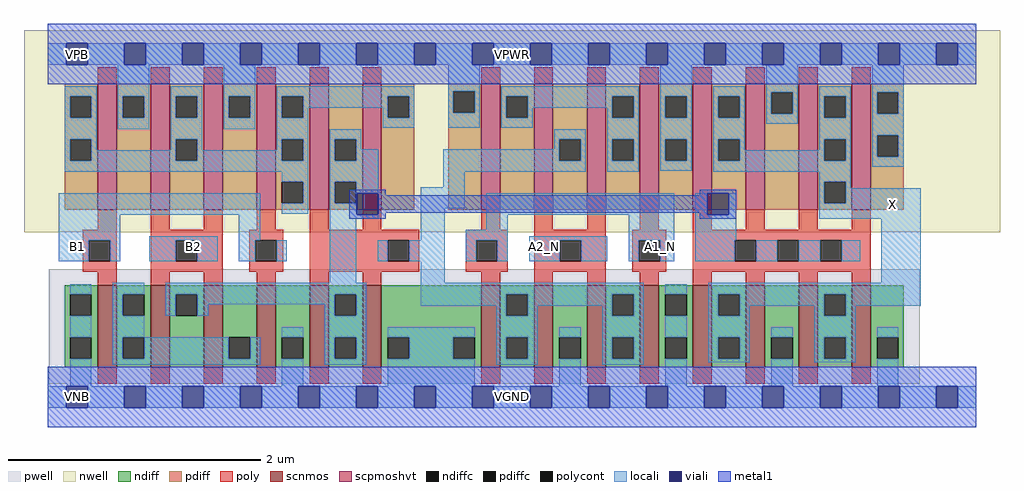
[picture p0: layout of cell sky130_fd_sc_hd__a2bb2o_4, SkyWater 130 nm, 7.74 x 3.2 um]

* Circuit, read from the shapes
.subckt sky130_fd_sc_hd__a2bb2o_4 A1_N A2_N B1 B2 VGND VNB VPB VPWR X
XM1 n1 B1 VGND VNB sky130_fd_pr__nfet_01v8 w=0.65 l=0.15 m=2
XM2 n2 B2 n1 VNB sky130_fd_pr__nfet_01v8 w=0.65 l=0.15 m=2
XM3 n2 n3 VGND VNB sky130_fd_pr__nfet_01v8 w=0.65 l=0.15 m=2
XM4 n3 A1_N VGND VNB sky130_fd_pr__nfet_01v8 w=0.65 l=0.15 m=2
XM5 VGND A2_N n3 VNB sky130_fd_pr__nfet_01v8 w=0.65 l=0.15 m=2
XM6 X n2 VGND VNB sky130_fd_pr__nfet_01v8 w=0.65 l=0.15 m=4
XM7 VPWR B1 n4 VPB sky130_fd_pr__pfet_01v8_hvt w=1 l=0.15 m=2
XM8 n4 B2 VPWR VPB sky130_fd_pr__pfet_01v8_hvt w=1 l=0.15 m=2
XM9 n2 n3 n4 VPB sky130_fd_pr__pfet_01v8_hvt w=1 l=0.15 m=2
XM10 n5 A1_N VPWR VPB sky130_fd_pr__pfet_01v8_hvt w=1 l=0.15 m=2
XM11 n3 A2_N n5 VPB sky130_fd_pr__pfet_01v8_hvt w=1 l=0.15 m=2
XM12 X n2 VPWR VPB sky130_fd_pr__pfet_01v8_hvt w=1 l=0.15 m=4
.ends

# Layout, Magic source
magic
tech sky130B
magscale 1 2
<< nwell >>
rect -38 261 1510 582
<< pwell >>
rect 1 21 1383 203
rect 30 -17 64 21
<< scnmos >>
rect 79 47 109 177
rect 163 47 193 177
rect 247 47 277 177
rect 331 47 361 177
rect 415 47 445 177
rect 499 47 529 177
rect 687 47 717 177
rect 771 47 801 177
rect 855 47 885 177
rect 939 47 969 177
rect 1023 47 1053 177
rect 1107 47 1137 177
rect 1191 47 1221 177
rect 1275 47 1305 177
<< scpmoshvt >>
rect 79 297 109 497
rect 163 297 193 497
rect 247 297 277 497
rect 331 297 361 497
rect 415 297 445 497
rect 499 297 529 497
rect 687 297 717 497
rect 771 297 801 497
rect 855 297 885 497
rect 939 297 969 497
rect 1023 297 1053 497
rect 1107 297 1137 497
rect 1191 297 1221 497
rect 1275 297 1305 497
<< ndiff >>
rect 27 163 79 177
rect 27 129 35 163
rect 69 129 79 163
rect 27 95 79 129
rect 27 61 35 95
rect 69 61 79 95
rect 27 47 79 61
rect 109 163 163 177
rect 109 129 119 163
rect 153 129 163 163
rect 109 95 163 129
rect 109 61 119 95
rect 153 61 163 95
rect 109 47 163 61
rect 193 163 247 177
rect 193 129 203 163
rect 237 129 247 163
rect 193 47 247 129
rect 277 95 331 177
rect 277 61 287 95
rect 321 61 331 95
rect 277 47 331 61
rect 361 95 415 177
rect 361 61 371 95
rect 405 61 415 95
rect 361 47 415 61
rect 445 163 499 177
rect 445 129 455 163
rect 489 129 499 163
rect 445 95 499 129
rect 445 61 455 95
rect 489 61 499 95
rect 445 47 499 61
rect 529 95 687 177
rect 529 61 539 95
rect 573 61 643 95
rect 677 61 687 95
rect 529 47 687 61
rect 717 163 771 177
rect 717 129 727 163
rect 761 129 771 163
rect 717 95 771 129
rect 717 61 727 95
rect 761 61 771 95
rect 717 47 771 61
rect 801 95 855 177
rect 801 61 811 95
rect 845 61 855 95
rect 801 47 855 61
rect 885 163 939 177
rect 885 129 895 163
rect 929 129 939 163
rect 885 95 939 129
rect 885 61 895 95
rect 929 61 939 95
rect 885 47 939 61
rect 969 163 1023 177
rect 969 129 979 163
rect 1013 129 1023 163
rect 969 95 1023 129
rect 969 61 979 95
rect 1013 61 1023 95
rect 969 47 1023 61
rect 1053 163 1107 177
rect 1053 129 1063 163
rect 1097 129 1107 163
rect 1053 95 1107 129
rect 1053 61 1063 95
rect 1097 61 1107 95
rect 1053 47 1107 61
rect 1137 95 1191 177
rect 1137 61 1147 95
rect 1181 61 1191 95
rect 1137 47 1191 61
rect 1221 163 1275 177
rect 1221 129 1231 163
rect 1265 129 1275 163
rect 1221 95 1275 129
rect 1221 61 1231 95
rect 1265 61 1275 95
rect 1221 47 1275 61
rect 1305 95 1357 177
rect 1305 61 1315 95
rect 1349 61 1357 95
rect 1305 47 1357 61
<< pdiff >>
rect 27 477 79 497
rect 27 443 35 477
rect 69 443 79 477
rect 27 409 79 443
rect 27 375 35 409
rect 69 375 79 409
rect 27 297 79 375
rect 109 477 163 497
rect 109 443 119 477
rect 153 443 163 477
rect 109 297 163 443
rect 193 477 247 497
rect 193 443 203 477
rect 237 443 247 477
rect 193 409 247 443
rect 193 375 203 409
rect 237 375 247 409
rect 193 297 247 375
rect 277 477 331 497
rect 277 443 287 477
rect 321 443 331 477
rect 277 297 331 443
rect 361 477 415 497
rect 361 443 371 477
rect 405 443 415 477
rect 361 409 415 443
rect 361 375 371 409
rect 405 375 415 409
rect 361 341 415 375
rect 361 307 371 341
rect 405 307 415 341
rect 361 297 415 307
rect 445 409 499 497
rect 445 375 455 409
rect 489 375 499 409
rect 445 341 499 375
rect 445 307 455 341
rect 489 307 499 341
rect 445 297 499 307
rect 529 477 581 497
rect 529 443 539 477
rect 573 443 581 477
rect 529 297 581 443
rect 635 485 687 497
rect 635 451 643 485
rect 677 451 687 485
rect 635 297 687 451
rect 717 477 771 497
rect 717 443 727 477
rect 761 443 771 477
rect 717 297 771 443
rect 801 409 855 497
rect 801 375 811 409
rect 845 375 855 409
rect 801 297 855 375
rect 885 477 939 497
rect 885 443 895 477
rect 929 443 939 477
rect 885 409 939 443
rect 885 375 895 409
rect 929 375 939 409
rect 885 297 939 375
rect 969 477 1023 497
rect 969 443 979 477
rect 1013 443 1023 477
rect 969 409 1023 443
rect 969 375 979 409
rect 1013 375 1023 409
rect 969 297 1023 375
rect 1053 477 1107 497
rect 1053 443 1063 477
rect 1097 443 1107 477
rect 1053 409 1107 443
rect 1053 375 1063 409
rect 1097 375 1107 409
rect 1053 297 1107 375
rect 1137 483 1191 497
rect 1137 449 1147 483
rect 1181 449 1191 483
rect 1137 297 1191 449
rect 1221 477 1275 497
rect 1221 443 1231 477
rect 1265 443 1275 477
rect 1221 409 1275 443
rect 1221 375 1231 409
rect 1265 375 1275 409
rect 1221 341 1275 375
rect 1221 307 1231 341
rect 1265 307 1275 341
rect 1221 297 1275 307
rect 1305 483 1357 497
rect 1305 449 1315 483
rect 1349 449 1357 483
rect 1305 415 1357 449
rect 1305 381 1315 415
rect 1349 381 1357 415
rect 1305 297 1357 381
<< ndiffc >>
rect 35 129 69 163
rect 35 61 69 95
rect 119 129 153 163
rect 119 61 153 95
rect 203 129 237 163
rect 287 61 321 95
rect 371 61 405 95
rect 455 129 489 163
rect 455 61 489 95
rect 539 61 573 95
rect 643 61 677 95
rect 727 129 761 163
rect 727 61 761 95
rect 811 61 845 95
rect 895 129 929 163
rect 895 61 929 95
rect 979 129 1013 163
rect 979 61 1013 95
rect 1063 129 1097 163
rect 1063 61 1097 95
rect 1147 61 1181 95
rect 1231 129 1265 163
rect 1231 61 1265 95
rect 1315 61 1349 95
<< pdiffc >>
rect 35 443 69 477
rect 35 375 69 409
rect 119 443 153 477
rect 203 443 237 477
rect 203 375 237 409
rect 287 443 321 477
rect 371 443 405 477
rect 371 375 405 409
rect 371 307 405 341
rect 455 375 489 409
rect 455 307 489 341
rect 539 443 573 477
rect 643 451 677 485
rect 727 443 761 477
rect 811 375 845 409
rect 895 443 929 477
rect 895 375 929 409
rect 979 443 1013 477
rect 979 375 1013 409
rect 1063 443 1097 477
rect 1063 375 1097 409
rect 1147 449 1181 483
rect 1231 443 1265 477
rect 1231 375 1265 409
rect 1231 307 1265 341
rect 1315 449 1349 483
rect 1315 381 1349 415
<< poly >>
rect 79 497 109 523
rect 163 497 193 523
rect 247 497 277 523
rect 331 497 361 523
rect 415 497 445 523
rect 499 497 529 523
rect 687 497 717 523
rect 771 497 801 523
rect 855 497 885 523
rect 939 497 969 523
rect 1023 497 1053 523
rect 1107 497 1137 523
rect 1191 497 1221 523
rect 1275 497 1305 523
rect 79 265 109 297
rect 55 249 109 265
rect 55 215 65 249
rect 99 215 109 249
rect 55 199 109 215
rect 79 177 109 199
rect 163 265 193 297
rect 247 265 277 297
rect 331 265 361 297
rect 415 265 445 297
rect 499 265 529 297
rect 687 265 717 297
rect 771 265 801 297
rect 855 265 885 297
rect 939 265 969 297
rect 1023 265 1053 297
rect 1107 265 1137 297
rect 1191 265 1221 297
rect 1275 265 1305 297
rect 163 249 277 265
rect 163 215 203 249
rect 237 215 277 249
rect 163 199 277 215
rect 319 249 373 265
rect 319 215 329 249
rect 363 215 373 249
rect 319 199 373 215
rect 415 249 589 265
rect 415 215 539 249
rect 573 215 589 249
rect 415 199 589 215
rect 663 249 729 265
rect 663 215 679 249
rect 713 215 729 249
rect 663 199 729 215
rect 771 249 885 265
rect 771 215 812 249
rect 846 215 885 249
rect 771 199 885 215
rect 927 249 981 265
rect 927 215 937 249
rect 971 215 981 249
rect 927 199 981 215
rect 1023 249 1305 265
rect 1023 215 1089 249
rect 1123 215 1157 249
rect 1191 215 1225 249
rect 1259 215 1305 249
rect 1023 199 1305 215
rect 163 177 193 199
rect 247 177 277 199
rect 331 177 361 199
rect 415 177 445 199
rect 499 177 529 199
rect 687 177 717 199
rect 771 177 801 199
rect 855 177 885 199
rect 939 177 969 199
rect 1023 177 1053 199
rect 1107 177 1137 199
rect 1191 177 1221 199
rect 1275 177 1305 199
rect 79 21 109 47
rect 163 21 193 47
rect 247 21 277 47
rect 331 21 361 47
rect 415 21 445 47
rect 499 21 529 47
rect 687 21 717 47
rect 771 21 801 47
rect 855 21 885 47
rect 939 21 969 47
rect 1023 21 1053 47
rect 1107 21 1137 47
rect 1191 21 1221 47
rect 1275 21 1305 47
<< polycont >>
rect 65 215 99 249
rect 203 215 237 249
rect 329 215 363 249
rect 539 215 573 249
rect 679 215 713 249
rect 812 215 846 249
rect 937 215 971 249
rect 1089 215 1123 249
rect 1157 215 1191 249
rect 1225 215 1259 249
<< locali >>
rect 0 527 29 561
rect 63 527 121 561
rect 155 527 213 561
rect 247 527 305 561
rect 339 527 397 561
rect 431 527 489 561
rect 523 527 581 561
rect 615 527 673 561
rect 707 527 765 561
rect 799 527 857 561
rect 891 527 949 561
rect 983 527 1041 561
rect 1075 527 1133 561
rect 1167 527 1225 561
rect 1259 527 1317 561
rect 1351 527 1409 561
rect 1443 527 1472 561
rect 27 477 77 493
rect 27 443 35 477
rect 69 443 77 477
rect 27 409 77 443
rect 111 477 161 527
rect 111 443 119 477
rect 153 443 161 477
rect 111 425 161 443
rect 195 477 245 493
rect 195 443 203 477
rect 237 443 245 477
rect 27 375 35 409
rect 69 391 77 409
rect 195 409 245 443
rect 279 477 329 527
rect 279 443 287 477
rect 321 443 329 477
rect 279 425 329 443
rect 363 477 581 493
rect 363 443 371 477
rect 405 459 539 477
rect 405 443 413 459
rect 195 391 203 409
rect 69 375 203 391
rect 237 391 245 409
rect 363 409 413 443
rect 531 443 539 459
rect 573 443 581 477
rect 531 427 581 443
rect 635 485 685 527
rect 635 451 643 485
rect 677 451 685 485
rect 635 427 685 451
rect 719 477 937 493
rect 719 443 727 477
rect 761 459 895 477
rect 761 443 769 459
rect 719 427 769 443
rect 887 443 895 459
rect 929 443 937 477
rect 363 391 371 409
rect 237 375 371 391
rect 405 375 413 409
rect 27 357 413 375
rect 371 341 413 357
rect 17 289 337 323
rect 405 307 413 341
rect 371 291 413 307
rect 447 409 497 425
rect 447 375 455 409
rect 489 393 497 409
rect 803 409 853 425
rect 803 393 811 409
rect 489 375 524 393
rect 447 341 524 375
rect 447 307 455 341
rect 489 323 524 341
rect 627 375 811 393
rect 845 375 853 409
rect 627 357 853 375
rect 887 409 937 443
rect 887 375 895 409
rect 929 375 937 409
rect 887 357 937 375
rect 971 477 1021 527
rect 971 443 979 477
rect 1013 443 1021 477
rect 971 409 1021 443
rect 971 375 979 409
rect 1013 375 1021 409
rect 971 359 1021 375
rect 1055 477 1105 493
rect 1055 443 1063 477
rect 1097 443 1105 477
rect 1055 409 1105 443
rect 1139 483 1189 527
rect 1139 449 1147 483
rect 1181 449 1189 483
rect 1139 433 1189 449
rect 1223 477 1273 493
rect 1223 443 1231 477
rect 1265 443 1273 477
rect 1055 375 1063 409
rect 1097 391 1105 409
rect 1223 409 1273 443
rect 1223 391 1231 409
rect 1097 375 1231 391
rect 1265 375 1273 409
rect 1055 357 1273 375
rect 1307 483 1357 527
rect 1307 449 1315 483
rect 1349 449 1357 483
rect 1307 415 1357 449
rect 1307 381 1315 415
rect 1349 381 1357 415
rect 1307 365 1357 381
rect 627 333 661 357
rect 489 307 490 323
rect 17 249 115 289
rect 17 215 65 249
rect 99 215 115 249
rect 161 249 269 255
rect 161 215 203 249
rect 237 215 269 249
rect 303 249 337 289
rect 447 289 490 307
rect 447 283 524 289
rect 591 299 661 333
rect 1223 341 1273 357
rect 303 215 329 249
rect 363 215 379 249
rect 447 181 489 283
rect 591 249 629 299
rect 695 289 993 323
rect 695 265 729 289
rect 523 215 539 249
rect 573 215 629 249
rect 663 249 729 265
rect 663 215 679 249
rect 713 215 729 249
rect 763 249 887 255
rect 763 215 812 249
rect 846 215 887 249
rect 921 249 993 289
rect 921 215 937 249
rect 971 215 993 249
rect 1027 289 1046 323
rect 1080 289 1092 323
rect 1027 249 1092 289
rect 1223 307 1231 341
rect 1265 331 1273 341
rect 1265 307 1384 331
rect 1223 283 1384 307
rect 1027 215 1089 249
rect 1123 215 1157 249
rect 1191 215 1225 249
rect 1259 215 1288 249
rect 591 181 629 215
rect 1322 181 1384 283
rect 35 163 69 179
rect 35 95 69 129
rect 35 17 69 61
rect 103 163 153 181
rect 103 129 119 163
rect 187 163 505 181
rect 187 129 203 163
rect 237 147 455 163
rect 237 129 254 147
rect 439 129 455 147
rect 489 129 505 163
rect 591 163 945 181
rect 591 145 727 163
rect 103 95 153 129
rect 371 95 405 111
rect 103 61 119 95
rect 153 61 287 95
rect 321 61 337 95
rect 103 51 337 61
rect 371 17 405 61
rect 439 95 505 129
rect 711 129 727 145
rect 761 145 895 163
rect 761 129 777 145
rect 439 61 455 95
rect 489 61 505 95
rect 439 51 505 61
rect 539 95 677 111
rect 573 61 643 95
rect 539 17 677 61
rect 711 95 777 129
rect 879 129 895 145
rect 929 129 945 163
rect 711 61 727 95
rect 761 61 777 95
rect 711 51 777 61
rect 811 95 845 111
rect 811 17 845 61
rect 879 95 945 129
rect 879 61 895 95
rect 929 61 945 95
rect 879 51 945 61
rect 979 163 1013 179
rect 979 95 1013 129
rect 979 17 1013 61
rect 1047 163 1384 181
rect 1047 129 1063 163
rect 1097 145 1231 163
rect 1097 129 1113 145
rect 1047 95 1113 129
rect 1215 129 1231 145
rect 1265 145 1384 163
rect 1265 129 1281 145
rect 1047 61 1063 95
rect 1097 61 1113 95
rect 1047 55 1113 61
rect 1147 95 1181 111
rect 1147 17 1181 61
rect 1215 95 1281 129
rect 1215 61 1231 95
rect 1265 61 1281 95
rect 1215 55 1281 61
rect 1315 95 1349 111
rect 1315 17 1349 61
rect 0 -17 29 17
rect 63 -17 121 17
rect 155 -17 213 17
rect 247 -17 305 17
rect 339 -17 397 17
rect 431 -17 489 17
rect 523 -17 581 17
rect 615 -17 673 17
rect 707 -17 765 17
rect 799 -17 857 17
rect 891 -17 949 17
rect 983 -17 1041 17
rect 1075 -17 1133 17
rect 1167 -17 1225 17
rect 1259 -17 1317 17
rect 1351 -17 1409 17
rect 1443 -17 1472 17
<< viali >>
rect 29 527 63 561
rect 121 527 155 561
rect 213 527 247 561
rect 305 527 339 561
rect 397 527 431 561
rect 489 527 523 561
rect 581 527 615 561
rect 673 527 707 561
rect 765 527 799 561
rect 857 527 891 561
rect 949 527 983 561
rect 1041 527 1075 561
rect 1133 527 1167 561
rect 1225 527 1259 561
rect 1317 527 1351 561
rect 1409 527 1443 561
rect 490 289 524 323
rect 1046 289 1080 323
rect 29 -17 63 17
rect 121 -17 155 17
rect 213 -17 247 17
rect 305 -17 339 17
rect 397 -17 431 17
rect 489 -17 523 17
rect 581 -17 615 17
rect 673 -17 707 17
rect 765 -17 799 17
rect 857 -17 891 17
rect 949 -17 983 17
rect 1041 -17 1075 17
rect 1133 -17 1167 17
rect 1225 -17 1259 17
rect 1317 -17 1351 17
rect 1409 -17 1443 17
<< metal1 >>
rect 0 561 1472 592
rect 0 527 29 561
rect 63 527 121 561
rect 155 527 213 561
rect 247 527 305 561
rect 339 527 397 561
rect 431 527 489 561
rect 523 527 581 561
rect 615 527 673 561
rect 707 527 765 561
rect 799 527 857 561
rect 891 527 949 561
rect 983 527 1041 561
rect 1075 527 1133 561
rect 1167 527 1225 561
rect 1259 527 1317 561
rect 1351 527 1409 561
rect 1443 527 1472 561
rect 0 496 1472 527
rect 478 323 536 329
rect 478 289 490 323
rect 524 320 536 323
rect 1034 323 1092 329
rect 1034 320 1046 323
rect 524 292 1046 320
rect 524 289 536 292
rect 478 283 536 289
rect 1034 289 1046 292
rect 1080 289 1092 323
rect 1034 283 1092 289
rect 0 17 1472 48
rect 0 -17 29 17
rect 63 -17 121 17
rect 155 -17 213 17
rect 247 -17 305 17
rect 339 -17 397 17
rect 431 -17 489 17
rect 523 -17 581 17
rect 615 -17 673 17
rect 707 -17 765 17
rect 799 -17 857 17
rect 891 -17 949 17
rect 983 -17 1041 17
rect 1075 -17 1133 17
rect 1167 -17 1225 17
rect 1259 -17 1317 17
rect 1351 -17 1409 17
rect 1443 -17 1472 17
rect 0 -48 1472 -17
<< labels >>
flabel locali s 30 221 64 255 0 FreeSans 400 0 0 0 B1
port 3 nsew signal input
flabel locali s 214 221 248 255 0 FreeSans 400 0 0 0 B2
port 4 nsew signal input
flabel locali s 1322 289 1356 323 0 FreeSans 400 180 0 0 X
port 9 nsew signal output
flabel locali s 954 221 988 255 0 FreeSans 400 180 0 0 A1_N
port 1 nsew signal input
flabel locali s 770 221 804 255 0 FreeSans 400 180 0 0 A2_N
port 2 nsew signal input
flabel pwell s 30 -17 64 17 0 FreeSans 200 0 0 0 VNB
port 6 nsew ground bidirectional
flabel nwell s 30 527 64 561 0 FreeSans 200 0 0 0 VPB
port 7 nsew power bidirectional
flabel metal1 s 30 -17 64 17 0 FreeSans 200 0 0 0 VGND
port 5 nsew ground bidirectional abutment
flabel metal1 s 30 527 64 561 0 FreeSans 200 0 0 0 VPWR
port 8 nsew power bidirectional abutment
rlabel comment s 0 0 0 0 4 a2bb2o_4
rlabel metal1 s 0 -48 1472 48 1 VGND
port 5 nsew ground bidirectional abutment
rlabel metal1 s 0 496 1472 592 1 VPWR
port 8 nsew power bidirectional abutment
<< properties >>
string FIXED_BBOX 0 0 1472 544
string GDS_END 3930482
string GDS_FILE $PDKPATH/libs.ref/sky130_fd_sc_hd/gds/sky130_fd_sc_hd.gds
string GDS_START 3919078
string LEFclass CORE
string LEFsite unithd
string LEFsymmetry X Y R90
string path 0.000 0.000 36.800 0.000 
<< end >>
